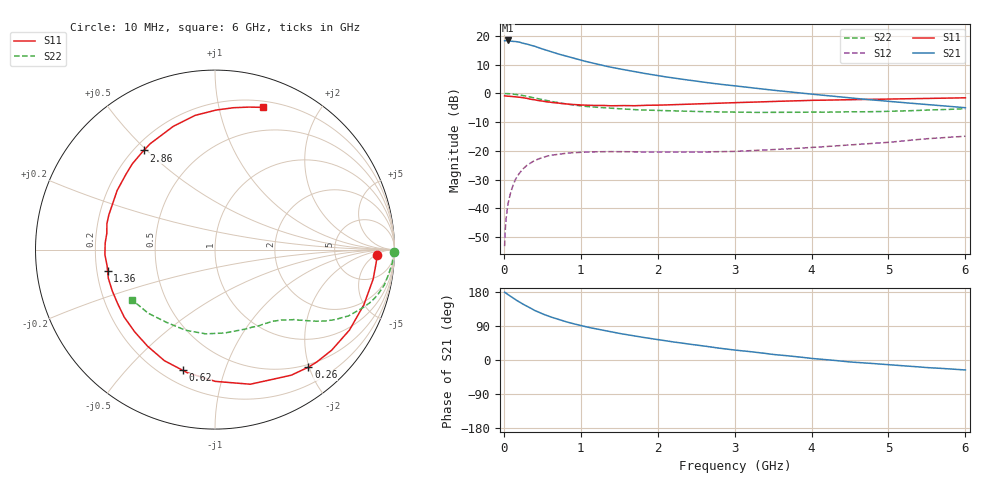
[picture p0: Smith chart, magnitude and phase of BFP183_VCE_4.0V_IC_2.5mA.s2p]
! (c) 2016  Infineon Technologies AG, Munich
! Infineon Technologies  Discrete & RF Semiconductors
! BFP183
! VCE = 4.0 V,  IC =  2.5 mA
! Common Emitter S-Parameters:  Jan 2016
# GHz  S  MA  R  50
!  f  S11  S21  S12  S22
! GHz  MAG  ANG  MAG  ANG  MAG  ANG  MAG  ANG
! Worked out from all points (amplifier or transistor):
!   210 points, 10 MHz to 6 GHz, reference 50 ohm
!   highest |S21| = 18.4 dB at 50 MHz (marker M1)
!   |S21| within 3 dB of that: start of sweep to 506 MHz
!   unconditionally stable (mu >= 1): 1.979 GHz to 5.818 GHz
!   at 185 MHz: K = 0.10, MSG = 23.2 dB, |S12| = -28.5 dB
!   at 1.52 GHz: K = 0.78, MSG = 14.4 dB, |S12| = -20.3 dB
!   at 6 GHz: K = 0.96, MSG = 5.0 dB, |S12| = -14.9 dB
!   S11 on the Smith chart (normalised r, x): 10 MHz: 18, -6; 260 MHz: 0.46, -1.99; 620 MHz: 0.28, -0.73; 1.36 GHz: 0.24, -0.09; 2.86 GHz: 0.24, +0.49; 6 GHz: 0.26, +1.36
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0.01  0.9052 -1.9  8.229 178.8  0.0022 85.2  0.9984 -0.8
0.025  0.9 -5.3  8.271 177.0  0.0056 88.2  0.9896 -2.0
0.05  0.8964 -10.6  8.317 173.1  0.011 85.5  0.9915 -4.0
0.115  0.878 -23.4  8.023 164.4  0.0242 75.7  0.9728 -9.1
0.19  0.8591 -38.8  7.829 154.4  0.0386 68.9  0.9458 -14.7
0.26  0.8367 -51.5  7.375 146.2  0.0501 62.0  0.9104 -19.1
0.3  0.8187 -58.7  7.194 141.9  0.056 58.4  0.8867 -21.3
0.4  0.7754 -75.3  6.605 130.8  0.068 50.3  0.8305 -26.4
0.5  0.7343 -89.8  5.922 121.8  0.0765 43.5  0.7751 -30.2
0.62  0.6962 -105.0  5.285 113.0  0.0841 37.4  0.7227 -33.4
0.7  0.6801 -114.5  4.873 107.5  0.0873 34.1  0.6907 -35.3
0.8  0.6566 -124.8  4.496 101.3  0.0907 30.4  0.6582 -37.1
1.02  0.6274 -144.9  3.709 90.0  0.0943 24.2  0.602 -40.6
1.1  0.6201 -151.2  3.501 86.0  0.0956 22.6  0.5868 -41.6
1.36  0.61 -168.9  2.907 75.8  0.0969 18.4  0.5549 -45.0
1.6  0.613 176.6  2.525 66.7  0.0968 16.3  0.5316 -47.9
2.02  0.6243 156.4  2.011 53.2  0.0958 15.2  0.5037 -53.9
2.86  0.6803 125.7  1.417 29.8  0.0972 18.2  0.4736 -69.3
3.1  0.6954 118.8  1.305 24.3  0.0992 19.8  0.4682 -74.5
4.1  0.7588 96.6  0.941 2.5  0.1167 24.3  0.4713 -99.1
5.1  0.8002 81.4  0.706 -13.9  0.145 25.8  0.4902 -126.1
6  0.8366 71.3  0.563 -26.3  0.1796 20.3  0.5406 -148.9
